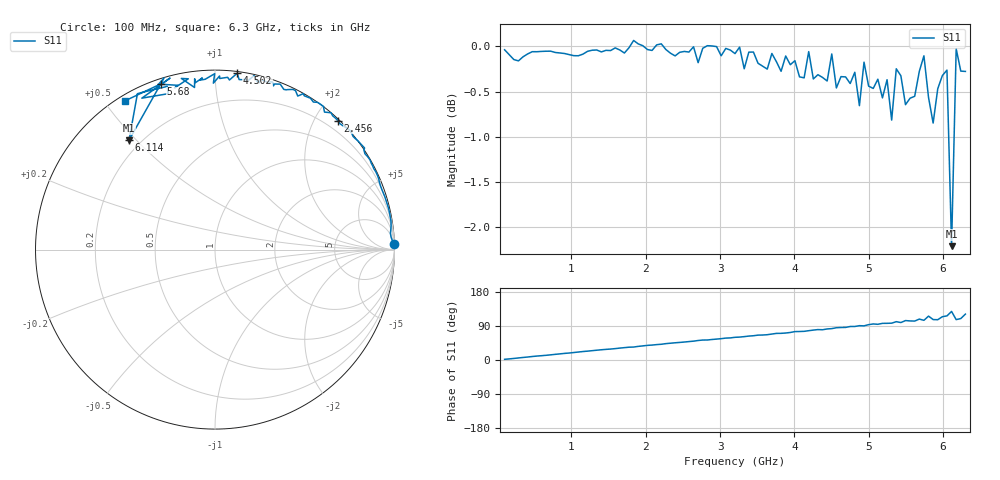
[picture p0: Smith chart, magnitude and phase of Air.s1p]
! Created with skrf 2.1.0 (http://scikit-rf.org).
# Hz S RI R 50.0
!freq ReS11 ImS11
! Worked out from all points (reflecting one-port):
!   101 points, 100 MHz to 6.3 GHz, reference 50 ohm
!   lowest |S11| = -2.2 dB at 6.114 GHz (marker M1), VSWR 7.90, Z = 7.79 + j23.8 ohm
!   phase of S11 starts at 2 deg and turns +119 deg over the sweep
!   S11 on the Smith chart (normalised r, x): 100 MHz: 9, +63; 2.456 GHz: 0.02, +2.34; 4.502 GHz: 0.01, +1.13; 5.68 GHz: 0.02, +0.73; 6.114 GHz: 0.16, +0.48; 6.3 GHz: 0.02, +0.56
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1e8  0.9951 0.0308
9.06e8  0.9455 0.2965
1.65e9  0.8495 0.5187
2.456e9  0.6849 0.7182
3.2e9  0.497 0.8571
4.006e9  0.2545 0.9483
4.502e9  0.1235 0.9826
4.75e9  0.0265 0.9534
4.874e9  -0.00912 0.9272
4.936e9  -0.00171 0.98
5.06e9  -0.0842 0.9441
5.308e9  -0.1141 0.9032
5.37e9  -0.1875 0.9535
5.432e9  -0.1487 0.9516
5.494e9  -0.2251 0.9007
5.556e9  -0.2119 0.9118
5.618e9  -0.2067 0.9153
5.68e9  -0.2996 0.9211
5.742e9  -0.2505 0.9557
5.804e9  -0.4077 0.8437
5.866e9  -0.2605 0.8687
5.928e9  -0.2665 0.9092
5.99e9  -0.3949 0.8788
6.052e9  -0.4321 0.8686
6.114e9  -0.4789 0.6098
6.176e9  -0.2841 0.9556
6.238e9  -0.3207 0.9143
6.3e9  -0.4998 0.8296
